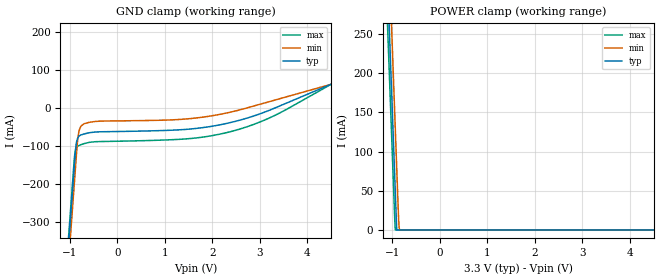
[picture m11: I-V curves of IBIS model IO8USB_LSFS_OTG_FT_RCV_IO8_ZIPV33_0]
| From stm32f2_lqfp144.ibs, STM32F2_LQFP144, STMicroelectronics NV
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| *** New cell (Generated with 5.14beta1 (Sep 20 2010 13:23:23))
[Model]   IO8USB_LSFS_OTG_FT_RCV_IO8_ZIPV33_0
Model_type Input
Polarity   Non-Inverting
Enable   Active-Low
| CAP_THRESHOLD on pad DPV33 is "CMOS" :
| Rising=10.0% of vddio   Falling=90.0% of vddio
| C_comp min and max val. don't necessarily correlate with the min and max pvt
| but are the smallest and greatest pad capacitance found.
| var   typ   min   max
C_comp   1.93475pF  1.87905pF  1.99935pF
Vinl = 810.0mV | Dummy value overriden by next lines
Vinh = 2.52V | Dummy value overriden by next lines
[Model Spec]
| TIME_THRESHOLD on pin ZIPV33 is "CORE" :
| Rising=40.0% of vddio   Falling=60.0% of vddio
Vinl 1.25450V 1.03850V 1.36250V
Vinh 1.66150V 1.36950V 1.82450V
| variable   typ   min   max
[Temperature Range] 25.0 125.0 -40.0
| variable   typ   min   max
[Voltage Range] 3.3V 2.7V 3.6V
| variable   typ   min   max
[POWER Clamp Reference] 3.3V 2.7V 3.6V
| variable   typ   min   max
[GND Clamp Reference] 0V 0V 0V
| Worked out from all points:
|   POWER clamp passes 1 mA (typ) near -0.91 V on its own axis
[POWER Clamp]
-3.3V     3.936A     4.058A     3.841A
-1.13V    361.8mA    445mA      304.1mA
-1.09V    295.9mA    378.4mA    238.9mA
-1.05V    230mA      311.8mA    173.7mA
-1.01V    164.1mA    245.2mA    108.5mA
-950mV    65.28mA    145.3mA    10.76mA
-940mV    48.81mA    128.7mA    0A
-910mV    0A         78.72mA    0A
-870mV    0A         14.2mA     0A
-860mV    0A         3.389mA    0A
-850mV    0A         0A         0A
6.6V      0A         0A         0A
[GND Clamp]
-3.3V     -4.218A    -4.264A    -4.198A
-1.06V    -410mA     -456mA     -390.4mA
-940mV    -206mA     -252mA     -186.4mA
-890mV    -121mA     -167mA     -113.8mA
-860mV    -88.28mA   -116mA     -102.8mA
-820mV    -75.08mA   -66.92mA   -98.42mA
-780mV    -70.94mA   -49.85mA   -96.22mA
-700mV    -67.36mA   -40.52mA   -92.83mA
1.65V     -53.05mA   -25.58mA   -78.06mA
2.72V     -26.13mA   701.5uA    -48.88mA
3.54V     12.65mA    29.46mA    -4.159mA
6.6V      173.9mA    136.8mA    210.6mA
